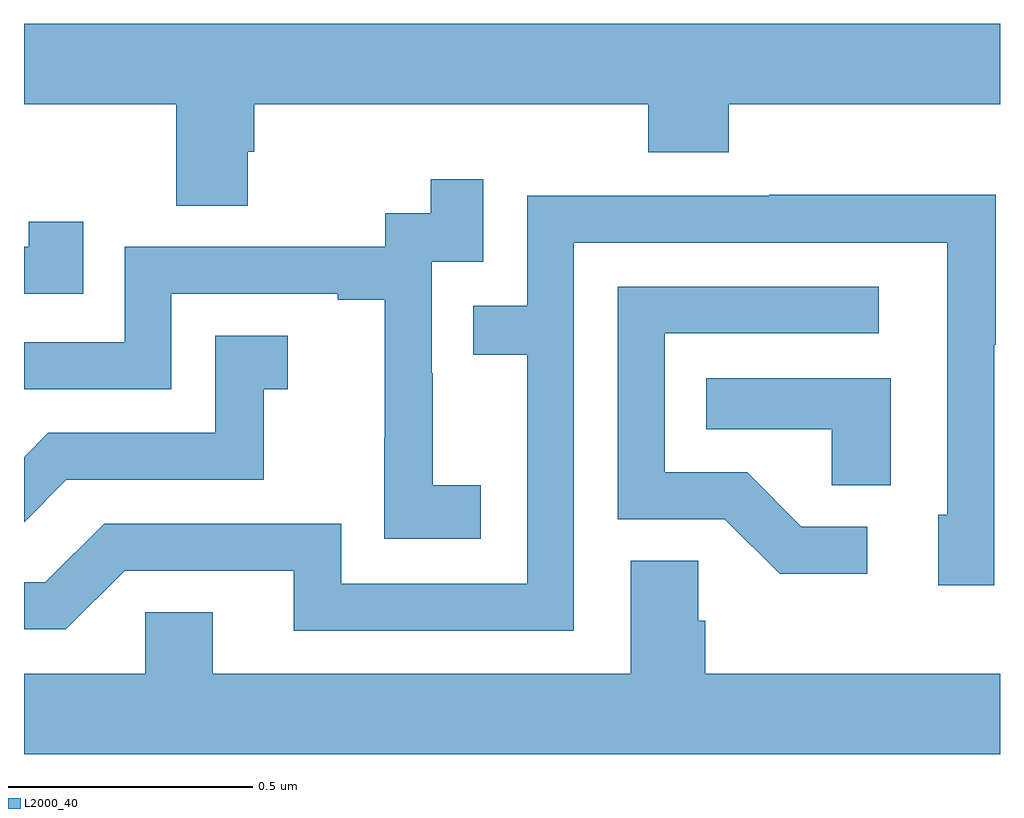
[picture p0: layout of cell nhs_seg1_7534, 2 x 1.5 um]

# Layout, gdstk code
import gdstk
lib = gdstk.Library(unit=1e-6, precision=1e-09)
def P(c, l, *ps):  # polygons
    for p in ps: c.add(gdstk.Polygon(p, *l))
L2000_40 = (2000, 40)

nhs_seg1_7534 = lib.new_cell('nhs_seg1_7534')
P(nhs_seg1_7534, L2000_40, [(205.459,527.658),(205.472,527.658),(205.472,527.756),(206.279,527.756),(206.279,527.657),(206.444,527.657),(206.444,527.756),(207,527.756),(207,527.92),(205,527.92),(205,527.756),(205.312,527.756),(205.312,527.548),(205.459,527.548)],
  [(205.936,526.975),(205.838,526.975),(205.838,527.204),(205.836,527.204),(205.836,527.433),(205.941,527.433),(205.941,527.602),(205.833,527.602),(205.833,527.532),(205.74,527.532),(205.74,527.463),(205.206,527.463),(205.206,527.268),(205,527.268),(205,527.172),(205.302,527.172),(205.302,527.367),(205.643,527.367),(205.643,527.355),(205.739,527.355),(205.739,527.071),(205.738,527.071),(205.738,526.865),(205.936,526.865)],
  [(206.127,527.472),(206.892,527.472),(206.892,526.914),(206.873,526.914),(206.873,526.77),(206.988,526.77),(206.988,527.263),(206.991,527.263),(206.991,527.57),(206.527,527.57),(206.527,527.568),(206.031,527.568),(206.031,527.343),(205.921,527.343),(205.921,527.242),(206.031,527.242),(206.031,526.773),(205.65,526.773),(205.65,526.896),(205.164,526.896),(205.044,526.776),(205,526.776),(205,526.68),(205.086,526.68),(205.206,526.8),(205.553,526.8),(205.553,526.677),(206.127,526.677)],
  [(205.121,527.515),(205.01,527.515),(205.01,527.463),(205,527.463),(205,527.367),(205.121,527.367)],
  [(206.728,526.89),(206.593,526.89),(206.482,527.001),(206.313,527.001),(206.313,527.286),(206.752,527.286),(206.752,527.382),(206.217,527.382),(206.217,526.905),(206.436,526.905),(206.549,526.793),(206.728,526.793)],
  [(205.087,526.986),(205.491,526.986),(205.491,527.171),(205.54,527.171),(205.54,527.281),(205.392,527.281),(205.392,527.082),(205.05,527.082),(205,527.032),(205,526.899)],
  [(206.776,527.194),(206.398,527.194),(206.398,527.09),(206.655,527.09),(206.655,526.975),(206.776,526.975)],
  [(207,526.588),(206.396,526.588),(206.396,526.697),(206.382,526.697),(206.382,526.82),(206.243,526.82),(206.243,526.588),(205.387,526.588),(205.387,526.715),(205.248,526.715),(205.248,526.588),(205,526.588),(205,526.424),(207,526.424)])

lib.write_gds('nhs_seg1_7534.gds')
